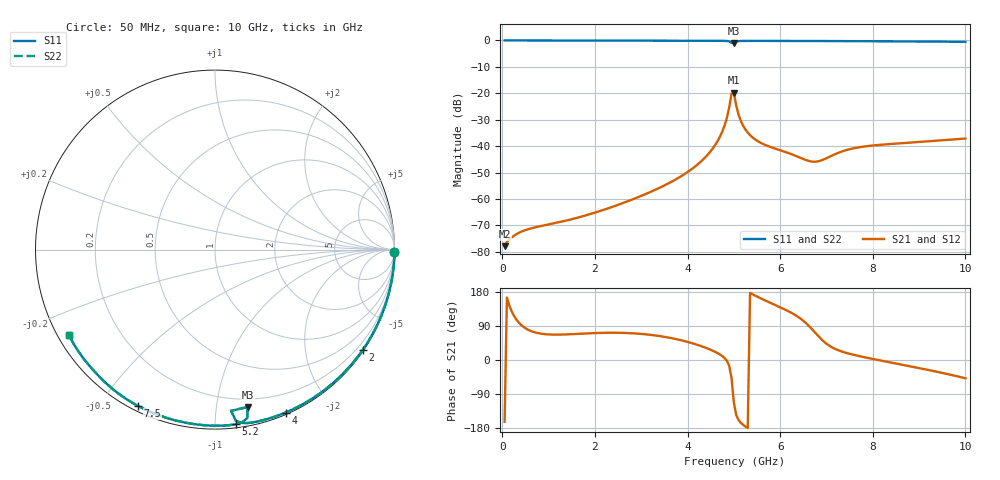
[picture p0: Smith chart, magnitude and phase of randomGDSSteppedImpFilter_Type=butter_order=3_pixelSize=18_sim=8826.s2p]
! freq	dB(S11)	phase(S11)	dB(S12)	phase(S12)
!  dB(S21)	phase(S21)	dB(S22)	phase(S22)
!S-par simulation data
#  GHz  S  DB  R 50
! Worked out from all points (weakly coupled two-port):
!   200 points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, 50 MHz to 10 GHz, reference 50 ohm
!   highest |S21| = -19.79 dB at 5 GHz (marker M1); lowest = -77.8 dB at 50 MHz (marker M2)
!   lowest |S11| = -0.9 dB at 5 GHz (marker M3), VSWR 18.31, Z = 6.82 - j60.9 ohm
!   |S11| at or under -10 dB: nowhere
!   |S22| runs from -1.0 to 0.0 dB; largest |S21 - S12| = 0
!   S11 on the Smith chart (normalised r, x): 50 MHz: open; 2 GHz: 0.03, -3.25; 4 GHz: 0.02, -1.52; 5.2 GHz: 0.02, -1.13; 7.5 GHz: 0.02, -0.62; 10 GHz: 0.03, -0.27
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0.05  -0.00 -0.9  -77.84 -162.9  -77.84 -162.9  -0.00 -0.9
0.2  -0.00 -3.5  -74.57 129.0  -74.57 129.0  -0.00 -3.5
0.45  -0.00 -7.8  -72.07 88.1  -72.07 88.1  -0.00 -7.8
1.75  -0.04 -30.0  -66.46 69.7  -66.46 69.7  -0.04 -30.0
2  -0.04 -34.2  -65.15 71.1  -65.15 71.1  -0.04 -34.2
3.4  -0.08 -57.0  -55.72 63.1  -55.72 63.1  -0.08 -57.1
4  -0.09 -66.6  -49.80 47.8  -49.80 47.8  -0.09 -66.6
4.4  -0.11 -72.9  -43.92 32.0  -43.92 32.0  -0.11 -72.9
4.65  -0.12 -77.1  -38.04 18.1  -38.04 18.1  -0.12 -77.1
4.75  -0.14 -78.9  -34.50 10.4  -34.50 10.4  -0.14 -79.0
4.85  -0.20 -81.3  -29.25 -2.3  -29.25 -2.3  -0.21 -81.3
4.95  -0.89 -84.3  -20.10 -47.5  -20.10 -47.5  -0.90 -84.3
5  -0.95 -78.3  -19.79 -112.1  -19.79 -112.1  -0.96 -78.3
5.05  -0.39 -79.2  -24.50 -144.8  -24.50 -144.8  -0.39 -79.2
5.1  -0.25 -80.8  -27.99 -158.0  -27.99 -158.0  -0.25 -80.8
5.2  -0.18 -83.1  -32.27 -171.1  -32.27 -171.1  -0.18 -83.1
5.35  -0.16 -85.8  -35.82 177.0  -35.82 177.0  -0.16 -85.8
5.6  -0.16 -89.7  -38.92 161.5  -38.92 161.5  -0.16 -89.7
6.7  -0.21 -105.4  -45.85 79.5  -45.85 79.5  -0.21 -105.4
7.5  -0.26 -116.2  -41.15 16.3  -41.15 16.3  -0.26 -116.2
8.35  -0.33 -127.4  -39.23 -5.8  -39.23 -5.8  -0.33 -127.4
10  -0.51 -149.7  -37.11 -48.2  -37.11 -48.2  -0.51 -149.7
